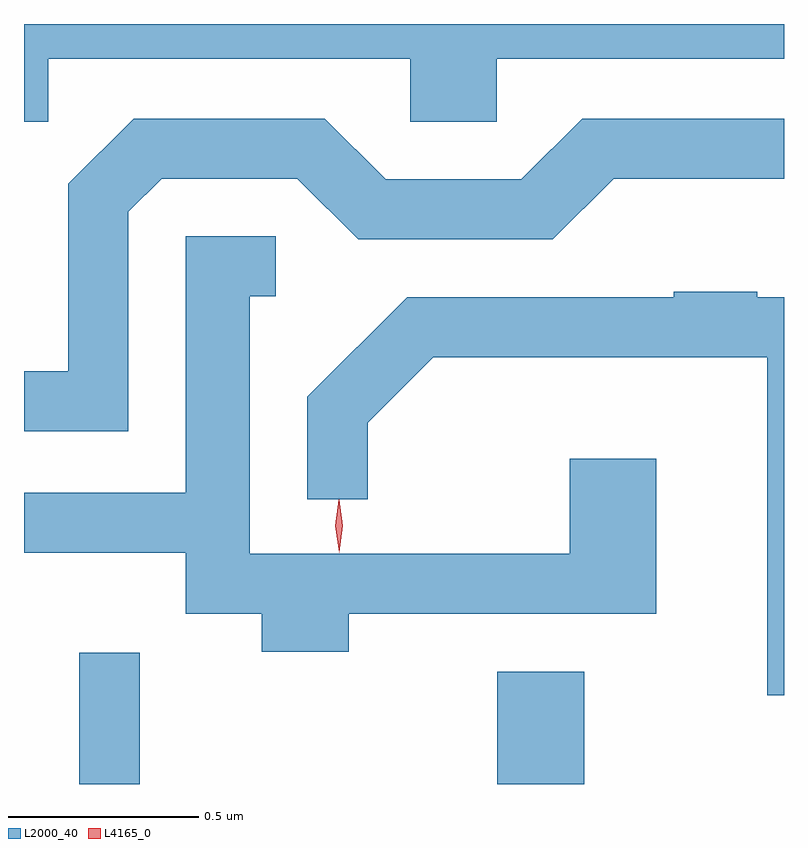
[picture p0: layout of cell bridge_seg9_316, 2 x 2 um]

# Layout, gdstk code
import gdstk
lib = gdstk.Library(unit=1e-6, precision=1e-09)
def R(c, l, rs):  # rectangles x0, y0, x1, y1
    for r in rs: c.add(gdstk.rectangle(r[:2], r[2:], *l))
def P(c, l, *ps):  # polygons
    for p in ps: c.add(gdstk.Polygon(p, *l))
L2000_40 = (2000, 40)
L4165_0 = (4165, 0)

bridge_seg9_316 = lib.new_cell('bridge_seg9_316')
R(bridge_seg9_316, L2000_40, [(991.221,2027.648,991.379,2027.993), (992.321,2027.648,992.549,2027.944)])
P(bridge_seg9_316, L2000_40, [(991.139,2029.556),(992.091,2029.556),(992.091,2029.391),(992.319,2029.391),(992.319,2029.556),(993.075,2029.556),(993.075,2029.648),(991.075,2029.648),(991.075,2029.391),(991.139,2029.391)],
  [(991.349,2029.154),(991.437,2029.241),(991.794,2029.241),(991.954,2029.081),(992.467,2029.081),(992.627,2029.241),(993.075,2029.241),(993.075,2029.399),(992.544,2029.399),(992.384,2029.239),(992.027,2029.239),(991.867,2029.399),(991.364,2029.399),(991.191,2029.227),(991.191,2028.734),(991.075,2028.734),(991.075,2028.576),(991.349,2028.576)],
  [(991.929,2028.096),(992.739,2028.096),(992.739,2028.504),(992.511,2028.504),(992.511,2028.254),(991.669,2028.254),(991.669,2028.931),(991.738,2028.931),(991.738,2029.089),(991.501,2029.089),(991.501,2028.414),(991.075,2028.414),(991.075,2028.256),(991.501,2028.256),(991.501,2028.096),(991.701,2028.096),(991.701,2027.996),(991.929,2027.996)],
  [(993.075,2028.929),(993.005,2028.929),(993.005,2028.944),(992.785,2028.944),(992.785,2028.929),(992.084,2028.929),(991.821,2028.667),(991.821,2028.398),(991.979,2028.398),(991.979,2028.599),(992.152,2028.771),(993.031,2028.771),(993.031,2027.881),(993.075,2027.881)])
P(bridge_seg9_316, L4165_0, [(991.904,2028.257),(991.904,2028.258),(991.894,2028.327),(991.903,2028.396),(991.904,2028.397),(991.904,2028.396),(991.914,2028.327),(991.905,2028.258)])

lib.write_gds('bridge_seg9_316.gds')
